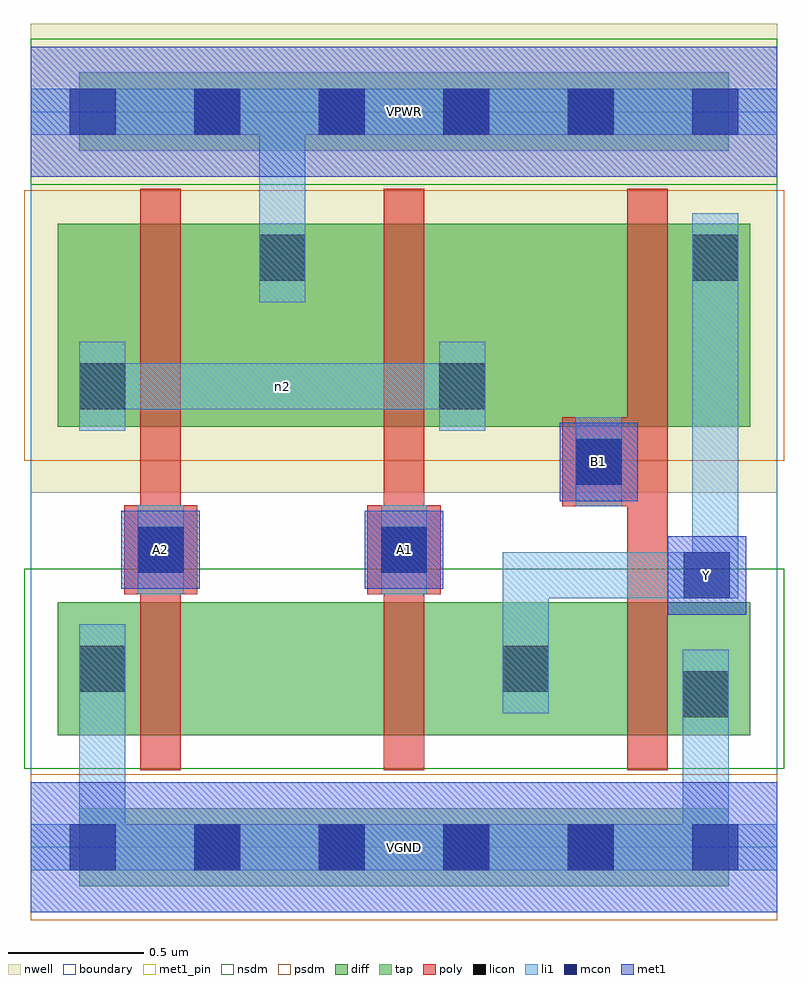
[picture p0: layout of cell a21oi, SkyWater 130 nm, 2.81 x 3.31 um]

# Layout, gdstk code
import gdstk
lib = gdstk.Library(unit=1e-6, precision=1e-09)
def R(c, l, rs):  # rectangles x0, y0, x1, y1
    for r in rs: c.add(gdstk.rectangle(r[:2], r[2:], *l))
def A(c, l, x, y, w, h, nx, ny, dx, dy):  # array of equal rectangles
    R(c, l, [(x+i*dx, y+j*dy, x+i*dx+w, y+j*dy+h) for i in range(nx) for j in range(ny)])
nwell = (64, 20)
diff = (65, 20)
tap = (65, 44)
poly = (66, 20)
licon = (66, 44)
li1 = (67, 20)
mcon = (67, 44)
met1_pin = (68, 16)
met1 = (68, 20)
nsdm = (93, 44)
psdm = (94, 20)
boundary = (235, 4)

a21oi = lib.new_cell('a21oi')
R(a21oi, nwell, [(0,1.31,2.76,3.045)])
R(a21oi, diff, [(0.1,0.415,2.66,0.905), (0.1,1.555,2.66,2.305)])
R(a21oi, tap, [(0.18,-0.145,2.58,0.145), (0.18,2.575,2.58,2.865)])
A(a21oi, poly, 0.405, 0.285, 0.15, 2.15, 3, 1, 0.9, 0)
R(a21oi, poly, [(0.345,0.935,0.615,1.265), (1.245,0.935,1.515,1.265), (1.965,1.26,2.235,1.59)])
A(a21oi, licon, 0.605, -0.085, 0.17, 0.17, 4, 2, 0.46, 2.72)
R(a21oi, licon, [(2.41,0.48,2.58,0.65), (0.18,0.575,0.35,0.745), (1.745,0.575,1.915,0.745), (0.395,1.015,0.565,1.185), (1.295,1.015,1.465,1.185), (2.015,1.34,2.185,1.51), (0.18,1.62,0.35,1.79), (1.51,1.62,1.68,1.79), (0.845,2.095,1.015,2.265), (2.445,2.095,2.615,2.265)])
R(a21oi, li1, [(0,-0.085,2.76,0.085), (0.18,-0.085,0.35,0.825), (2.41,-0.085,2.58,0.73), (2.41,0.4,2.58,0.73), (0.18,0.495,0.35,0.825), (1.745,0.495,1.915,0.825), (1.745,0.66,1.915,1.09), (1.745,0.92,2.615,1.09), (2.445,0.92,2.615,2.265), (0.395,0.935,0.565,1.265), (1.295,0.935,1.465,1.265), (2.015,1.26,2.185,1.59), (0.18,1.54,0.35,1.87), (1.51,1.54,1.68,1.87), (0.18,1.62,1.68,1.79), (0.845,2.015,1.015,2.345), (0.845,2.015,1.015,2.805), (2.445,2.015,2.615,2.345), (0,2.635,2.76,2.805)])
A(a21oi, mcon, 0.145, -0.085, 0.17, 0.17, 6, 2, 0.46, 2.72)
R(a21oi, mcon, [(2.415,0.92,2.585,1.09), (0.395,1.015,0.565,1.185), (1.295,1.015,1.465,1.185), (2.015,1.34,2.185,1.51)])
R(a21oi, met1_pin, [(0,-0.24,2.76,0.24), (2.355,0.86,2.645,1.15), (0.335,0.955,0.625,1.245), (1.235,0.955,1.525,1.245), (1.955,1.28,2.245,1.57), (0,2.48,2.76,2.96)])
R(a21oi, met1, [(0,-0.24,2.76,0.24), (2.355,0.86,2.645,1.15), (0.335,0.955,0.625,1.245), (1.235,0.955,1.525,1.245), (1.955,1.28,2.245,1.57), (0,2.48,2.76,2.96)])
R(a21oi, nsdm, [(-0.025,0.29,2.785,1.03), (0,2.45,2.76,2.99)])
R(a21oi, psdm, [(0,-0.27,2.76,0.27), (-0.025,1.43,2.785,2.43)])
R(a21oi, boundary, [(0,0,2.76,2.72)])
a21oi.add(gdstk.Label('n2', (0.93,1.705), layer=67, texttype=5))
a21oi.add(gdstk.Label('A2', (0.48,1.1), layer=68, texttype=5))
a21oi.add(gdstk.Label('A1', (1.38,1.1), layer=68, texttype=5))
a21oi.add(gdstk.Label('B1', (2.1,1.425), layer=68, texttype=5))
a21oi.add(gdstk.Label('Y', (2.5,1.005), layer=68, texttype=5))
a21oi.add(gdstk.Label('VPWR', (1.38,2.72), layer=68, texttype=5))
a21oi.add(gdstk.Label('VGND', (1.38,0), layer=68, texttype=5))
a21oi.add(gdstk.Label('A2', (0.48,1.1), layer=68, texttype=16))
a21oi.add(gdstk.Label('A1', (1.38,1.1), layer=68, texttype=16))
a21oi.add(gdstk.Label('B1', (2.1,1.425), layer=68, texttype=16))
a21oi.add(gdstk.Label('Y', (2.5,1.005), layer=68, texttype=16))
a21oi.add(gdstk.Label('VPWR', (1.38,2.72), layer=68, texttype=16))
a21oi.add(gdstk.Label('VGND', (1.38,0), layer=68, texttype=16))

lib.write_gds('a21oi.gds')
